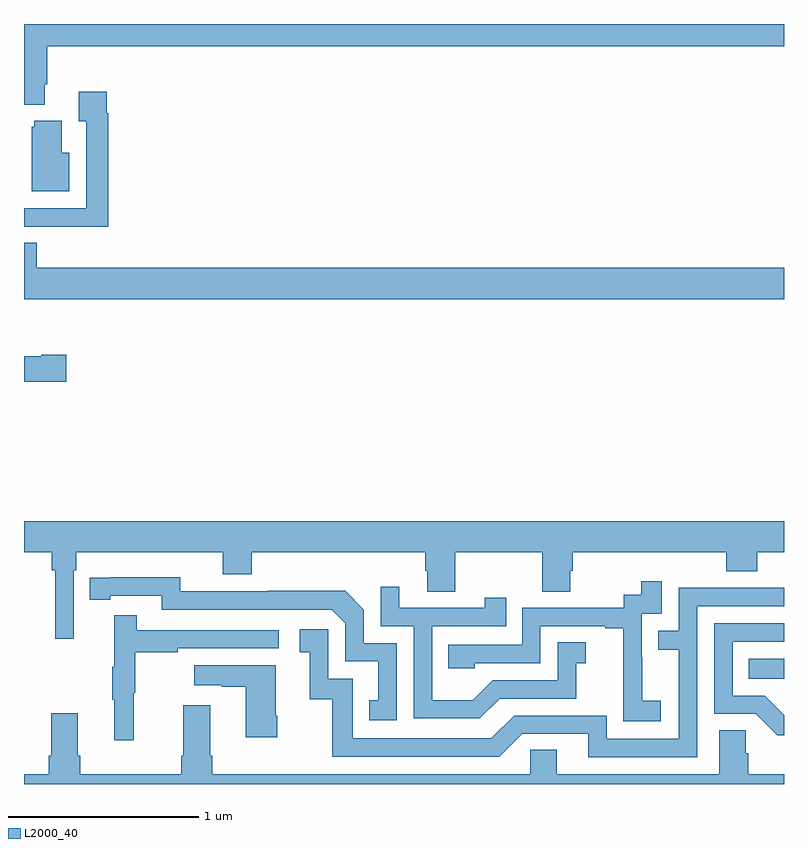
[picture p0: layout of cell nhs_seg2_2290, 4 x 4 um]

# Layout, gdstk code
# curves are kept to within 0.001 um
import gdstk
lib = gdstk.Library(unit=1e-6, precision=1e-09)
def R(c, l, rs):  # rectangles x0, y0, x1, y1
    for r in rs: c.add(gdstk.rectangle(r[:2], r[2:], *l))
def P(c, l, *ps):  # polygons
    for p in ps: c.add(gdstk.Polygon(p, *l))
L2000_40 = (2000, 40)

nhs_seg2_2290 = lib.new_cell('nhs_seg2_2290')
R(nhs_seg2_2290, L2000_40, [(234.814,596.354,235,596.458)])
P(nhs_seg2_2290, L2000_40, [(231.109,599.482),(231.122,599.482),(231.122,599.684),(235,599.684),(235,599.8),(231,599.8),(231,599.375),(231.109,599.375)],
  [(231.443,599.33),(231.436,599.33),(231.436,599.443),(231.287,599.443),(231.287,599.287),(231.327,599.287),(231.327,598.83),(231,598.83),(231,598.734),(231.151,598.734),(231.151,598.733),(231.443,598.733)],
  [(231.238,599.122),(231.199,599.122),(231.199,599.29),(231.053,599.29),(231.053,599.259),(231.041,599.259),(231.041,598.919),(231.238,598.919)],
  [(235,598.516),(231.068,598.516),(231.068,598.649),(231,598.649),(231,598.352),(235,598.352)],
  [(231.223,598.059),(231.09,598.059),(231.09,598.051),(231,598.051),(231,597.917),(231.223,597.917)],
  [(231.261,596.924),(231.275,596.924),(231.275,597.02),(232.046,597.02),(232.046,596.903),(232.199,596.903),(232.199,597.02),(233.111,597.02),(233.111,596.922),(233.123,596.922),(233.123,596.812),(233.271,596.812),(233.271,597.02),(233.728,597.02),(233.728,596.812),(233.875,596.812),(233.875,596.922),(233.888,596.922),(233.888,597.02),(234.695,597.02),(234.695,596.921),(234.86,596.921),(234.86,597.02),(235,597.02),(235,597.184),(231,597.184),(231,597.02),(231.145,597.02),(231.145,596.924),(231.164,596.924),(231.164,596.565),(231.261,596.565)],
  [(232.962,596.541),(232.788,596.541),(232.788,596.718),(232.69,596.816),(232.282,596.816),(232.282,596.814),(231.822,596.814),(231.822,596.887),(231.346,596.886),(231.346,596.77),(231.454,596.77),(231.454,596.79),(231.726,596.79),(231.726,596.718),(232.62,596.718),(232.692,596.646),(232.692,596.445),(232.865,596.445),(232.865,596.241),(232.816,596.241),(232.816,596.136),(232.962,596.136)],
  [(234.352,596.239),(234.254,596.239),(234.254,596.468),(234.252,596.468),(234.252,596.697),(234.357,596.697),(234.357,596.866),(234.249,596.866),(234.249,596.796),(234.156,596.796),(234.156,596.727),(233.622,596.727),(233.622,596.532),(233.233,596.532),(233.233,596.409),(233.373,596.409),(233.373,596.436),(233.718,596.436),(233.718,596.631),(234.059,596.631),(234.059,596.619),(234.155,596.619),(234.155,596.335),(234.154,596.335),(234.154,596.129),(234.352,596.129)],
  [(233.503,596.25),(233.907,596.25),(233.907,596.435),(233.956,596.435),(233.956,596.545),(233.808,596.545),(233.808,596.346),(233.466,596.346),(233.362,596.242),(233.148,596.242),(233.148,596.631),(233.537,596.631),(233.537,596.779),(233.426,596.779),(233.426,596.727),(232.975,596.727),(232.975,596.839),(232.878,596.839),(232.878,596.631),(233.052,596.631),(233.052,596.145),(233.398,596.145)],
  [(234.543,596.736),(235,596.736),(235,596.834),(234.943,596.834),(234.943,596.832),(234.447,596.832),(234.447,596.607),(234.337,596.607),(234.337,596.506),(234.447,596.506),(234.447,596.037),(234.066,596.037),(234.066,596.16),(233.58,596.16),(233.46,596.04),(232.731,596.04),(232.731,596.355),(232.602,596.355),(232.602,596.614),(232.452,596.614),(232.452,596.493),(232.505,596.493),(232.505,596.247),(232.623,596.247),(232.623,595.944),(233.502,595.944),(233.622,596.064),(233.969,596.064),(233.969,595.941),(234.543,595.941)],
  [(231.578,596.28),(231.586,596.28),(231.586,596.494),(231.809,596.494),(231.809,596.514),(232.342,596.514),(232.342,596.61),(231.593,596.61),(231.593,596.689),(231.476,596.689),(231.476,596.417),(231.465,596.417),(231.465,596.243),(231.476,596.243),(231.476,596.031),(231.578,596.031)],
  [(235,596.163),(234.898,596.265),(234.729,596.265),(234.729,596.55),(235,596.55),(235,596.646),(234.633,596.646),(234.633,596.169),(234.852,596.169),(234.965,596.057),(235,596.057)],
  [(232.332,596.158),(232.324,596.158),(232.324,596.425),(231.897,596.425),(231.897,596.321),(232.04,596.321),(232.04,596.311),(232.166,596.311),(232.166,596.046),(232.332,596.046)],
  [(233.664,595.979),(233.664,595.852),(231.992,595.852),(231.992,595.948),(231.979,595.948),(231.979,596.215),(231.839,596.215),(231.839,595.948),(231.827,595.948),(231.827,595.852),(231.296,595.852),(231.296,595.948),(231.283,595.948),(231.283,596.173),(231.143,596.173),(231.143,595.948),(231.131,595.948),(231.131,595.852),(231,595.852),(231,595.8),(235,595.8),(235,595.852),(234.812,595.852),(234.812,595.961),(234.798,595.961),(234.798,596.084),(234.659,596.084),(234.659,595.852),(233.803,595.852),(233.803,595.979)])

lib.write_gds('nhs_seg2_2290.gds')
